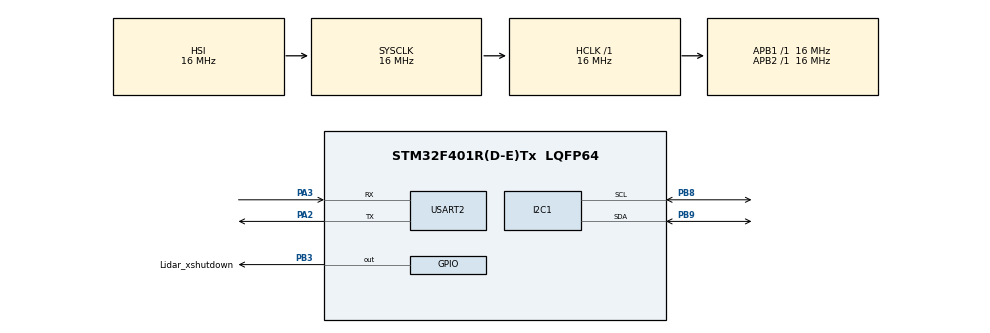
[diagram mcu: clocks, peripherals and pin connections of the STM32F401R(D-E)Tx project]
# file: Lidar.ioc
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I2C1.I2C_Mode=I2C_Fast
Mcu.Family=STM32F4
Mcu.Name=STM32F401R(D-E)Tx
Mcu.Package=LQFP64
NVIC.PriorityGroup=NVIC_PRIORITYGROUP_4
NVIC.USART2_IRQn=true\:0\:0\:false\:false\:true\:true\:true\:true
PA2.Mode=Asynchronous
PA2.Signal=USART2_TX
PA3.Mode=Asynchronous
PA3.Signal=USART2_RX
PB3.GPIO_Label=Lidar_xshutdown
PB3.PinState=GPIO_PIN_SET
PB3.Signal=GPIO_Output
PB8.Mode=I2C
PB8.Signal=I2C1_SCL
PB9.Mode=I2C
PB9.Signal=I2C1_SDA
PH0\ -\ OSC_IN.Mode=HSE-External-Clock-Source
PH0\ -\ OSC_IN.Signal=RCC_OSC_IN
PH1\ -\ OSC_OUT.Mode=HSE-External-Clock-Source
PH1\ -\ OSC_OUT.Signal=RCC_OSC_OUT
ProjectManager.HeapSize=0x200
ProjectManager.StackSize=0x400
ProjectManager.TargetToolchain=STM32CubeIDE
RCC.AHBFreq_Value=16000000
RCC.APB1Freq_Value=16000000
RCC.APB1TimFreq_Value=16000000
RCC.APB2Freq_Value=16000000
RCC.APB2TimFreq_Value=16000000
RCC.CortexFreq_Value=16000000
RCC.HCLKFreq_Value=16000000
RCC.HSE_VALUE=25000000
RCC.HSI_VALUE=16000000
RCC.LSE_VALUE=32768
RCC.SYSCLKFreq_VALUE=16000000
RCC.VCOOutputFreq_Value=192000000
USART2.VirtualMode=VM_ASYNC
board=custom

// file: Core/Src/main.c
/* USER CODE BEGIN Header */
/**
  */
/* USER CODE END Header */

#include "main.h"

/* USER CODE BEGIN Includes */
#include "vl53l0x_api.h"
#include <stdio.h>
#include <string.h>
#include <stdlib.h>
/* USER CODE END Includes */

/* USER CODE BEGIN PD */

/* --- CẤU HÌNH TIMING --- */
#define SERVO_SETTLE_MS     35
#define POWER_RECOVERY_MS   10
#define SERVO_EDGE_PAUSE    150
#define LIDAR_INVALID_MM    8190

/* --- CẤU HÌNH FILTER TẦNG 2 (ANTI-PULL-IN) --- */
#define NEAR_PULL_MM        120
#define CONFIRM_NEAR        3

/* --- CẤU HÌNH FILTER TẦNG 3 (SPATIAL) --- */
#define GAP_FILL_LIMIT_MM   80

/* USER CODE END PD */

I2C_HandleTypeDef hi2c1;
UART_HandleTypeDef huart2;

/* USER CODE BEGIN PV */
VL53L0X_RangingMeasurementData_t RangingData;
VL53L0X_Dev_t vl53l0x_c;
VL53L0X_DEV Dev = &vl53l0x_c;

char uart_tx_buffer[100];
uint8_t uart_rx_buffer[1];
volatile uint8_t flag_measure = 1;

// --- BIẾN CHO FILTER TẦNG 2 (Anti-Pull-In) ---
int last_valid = -1;
int near_candidate = -1;
uint8_t near_count = 0;

// --- BIẾN CHO FILTER TẦNG 3 (Spatial - Median) ---
int d_prev = -1;
int d_curr = -1;
int d_next = -1;

/* USER CODE END PV */

void SystemClock_Config(void);
static void MX_GPIO_Init(void);
static void MX_I2C1_Init(void);
static void MX_USART2_UART_Init(void);

/* USER CODE BEGIN 0 */

// =============================================================
// 1. MODULE SERVO
// =============================================================
uint32_t map_val(long x, long in_min, long in_max, long out_min, long out_max) {
   return (x - in_min) * (out_max - out_min) / (in_max - in_min) + out_min;
}

void Servo_Init(void) {
   RCC->AHB1ENR |= RCC_AHB1ENR_GPIOAEN;
   RCC->APB1ENR |= RCC_APB1ENR_TIM2EN;
   GPIOA->MODER &= ~GPIO_MODER_MODE0; GPIOA->MODER |= GPIO_MODER_MODE0_1;
   GPIOA->AFR[0] &= ~0xF; GPIOA->AFR[0] |= 0x1;
   TIM2->PSC = 15; TIM2->ARR = 19999;
   TIM2->CCMR1 &= ~TIM_CCMR1_OC1M; TIM2->CCMR1 |= (6 << TIM_CCMR1_OC1M_Pos);
   TIM2->CCMR1 |= TIM_CCMR1_OC1PE; TIM2->CCER |= TIM_CCER_CC1E;
   TIM2->CR1 |= TIM_CR1_CEN;
}

void Servo_Write(int angle) {
   if(angle < 0) angle = 0; if(angle > 180) angle = 180;
   TIM2->CCR1 = map_val(angle, 0, 180, 500, 2500);
}

// =============================================================
// 2. MODULE LIDAR
// =============================================================
VL53L0X_Error LidarInit(void) {
   VL53L0X_Error status = VL53L0X_ERROR_NONE;
   uint32_t refSpadCount; uint8_t isApertureSpads; uint8_t VhvSettings; uint8_t PhaseCal;

   HAL_GPIO_WritePin(Lidar_xshutdown_GPIO_Port, Lidar_xshutdown_Pin, GPIO_PIN_RESET);
   HAL_Delay(30);
   HAL_GPIO_WritePin(Lidar_xshutdown_GPIO_Port, Lidar_xshutdown_Pin, GPIO_PIN_SET);
   HAL_Delay(30);

   status = VL53L0X_DataInit(Dev); if (status != VL53L0X_ERROR_NONE) return status;
   status = VL53L0X_StaticInit(Dev); if (status != VL53L0X_ERROR_NONE) return status;
   status = VL53L0X_PerformRefSpadManagement(Dev, &refSpadCount, &isApertureSpads); if (status != VL53L0X_ERROR_NONE) return status;
   status = VL53L0X_PerformRefCalibration(Dev, &VhvSettings, &PhaseCal); if (status != VL53L0X_ERROR_NONE) return status;
   status = VL53L0X_SetDeviceMode(Dev, VL53L0X_DEVICEMODE_SINGLE_RANGING); if (status != VL53L0X_ERROR_NONE) return status;

   // Tuning cho Radar
   VL53L0X_SetVcselPulsePeriod(Dev, VL53L0X_VCSEL_PERIOD_PRE_RANGE, 18);
   VL53L0X_SetVcselPulsePeriod(Dev, VL53L0X_VCSEL_PERIOD_FINAL_RANGE, 14);
   VL53L0X_SetLimitCheckEnable(Dev, VL53L0X_CHECKENABLE_SIGNAL_RATE_FINAL_RANGE, 1);
   VL53L0X_SetLimitCheckValue(Dev, VL53L0X_CHECKENABLE_SIGNAL_RATE_FINAL_RANGE, (FixPoint1616_t)(0.1 * 65536));
   VL53L0X_SetLimitCheckEnable(Dev, VL53L0X_CHECKENABLE_SIGMA_FINAL_RANGE, 1);
   VL53L0X_SetLimitCheckValue(Dev, VL53L0X_CHECKENABLE_SIGMA_FINAL_RANGE, (FixPoint1616_t)(30 * 65536));
   status = VL53L0X_SetMeasurementTimingBudgetMicroSeconds(Dev, 50000);
   return status;
}

// =============================================================
// 3. TẦNG 1: RAW SAMPLING (Lấy mẫu trung bình)
// =============================================================
int Lidar_Read_Stable(void) {
    int valid_count = 0;
    long sum = 0;
    for (int i = 0; i < 5; i++) {
        VL53L0X_PerformSingleRangingMeasurement(Dev, &RangingData);
        if (RangingData.RangeStatus == 0 && RangingData.RangeMilliMeter > 30 && RangingData.RangeMilliMeter < 2000) {
            sum += RangingData.RangeMilliMeter;
            valid_count++;
        }
        HAL_Delay(5);
    }
    if (valid_count >= 3) return (int)(sum / valid_count);
    VL53L0X_ClearInterruptMask(Dev, 0);
    return -1;
}

// =============================================================
// 4. TẦNG 2: ANTI-PULL-IN FILTER (Temporal - Giữ mặt xa)
// =============================================================
int AntiPullInFilter(int current) {
    if (current <= 0) { if (last_valid > 0) return last_valid; return 0; }
    if (last_valid < 0) { last_valid = current; return current; }

    if (current < last_valid - NEAR_PULL_MM) {
        if (near_candidate < 0 || abs(current - near_candidate) > (NEAR_PULL_MM / 2)) {
            near_candidate = current;
            near_count = 1;
            return last_valid; // Reject near, keep far
        }
        near_count++;
        if (near_count >= CONFIRM_NEAR) {
            last_valid = near_candidate; near_candidate = -1; near_count = 0;
            return last_valid;
        }
        return last_valid;
    }
    near_candidate = -1; near_count = 0; last_valid = current;
    return current;
}

// =============================================================
// 5. TẦNG 3: SPATIAL FILTER (Median + Gap Fill)
// =============================================================

// Hàm tìm trung vị của 3 số
int median3(int a, int b, int c) {
    if ((a > b) ^ (a > c)) return a;
    if ((b > a) ^ (b > c)) return b;
    return c;
}

// Hàm Reset toàn bộ trạng thái khi đổi chiều quét
void Reset_All_Filters(void) {
    // Reset Anti-Pull-In
    last_valid = -1; near_candidate = -1; near_count = 0;
    // Reset Spatial Buffer
    d_prev = -1; d_curr = -1; d_next = -1;
}

int _write(int file, char *ptr, int len) {
   HAL_UART_Transmit(&huart2, (uint8_t*) ptr, len, HAL_MAX_DELAY);
   return len;
}

void HAL_UART_RxCpltCallback(UART_HandleTypeDef *huart) {
   if (huart->Instance == USART2) {
       if (uart_rx_buffer[0] == 's') flag_measure = 1;
       if (uart_rx_buffer[0] == 'p') flag_measure = 0;
       HAL_UART_Receive_IT(&huart2, uart_rx_buffer, 1);
   }
}
/* USER CODE END 0 */

int main(void)
{
  HAL_Init();
  SystemClock_Config();
  MX_GPIO_Init();
  MX_I2C1_Init();
  MX_USART2_UART_Init();
  /* USER CODE BEGIN 2 */

  Dev->I2cHandle = &hi2c1; Dev->I2cDevAddr = 0x52;
  Servo_Init(); Servo_Write(0); HAL_Delay(1000);

  sprintf(uart_tx_buffer, "Radar V3: Full Spatial Filter (Median + GapFill)...\r\n");
  HAL_UART_Transmit(&huart2, (uint8_t*)uart_tx_buffer, strlen(uart_tx_buffer), 100);

  if (LidarInit() == VL53L0X_ERROR_NONE) {
      HAL_UART_Receive_IT(&huart2, uart_rx_buffer, 1);
  } else {
      while (1) HAL_Delay(100);
  }

  /* USER CODE END 2 */

  /* USER CODE BEGIN WHILE */
  while (1)
  {
      if (flag_measure == 1) {

           // ============================================
           // ✅ CHIỀU ĐI (0 -> 180)
           // ============================================
           Reset_All_Filters();

           for (int i = 0; i <= 180; i++) {
               if (!flag_measure) break;

               Servo_Write(i);
               HAL_Delay(SERVO_SETTLE_MS); HAL_Delay(POWER_RECOVERY_MS);

               // --- PIPELINE XỬ LÝ 3 TẦNG ---

               // 1. Raw Read + Averaging
               int raw = Lidar_Read_Stable();

               // 2. Temporal Filter (Anti-Pull-In)
               int anti_pull_val = AntiPullInFilter(raw);

               // 3. Spatial Filter (Windowing)
               d_prev = d_curr;
               d_curr = d_next;
               d_next = anti_pull_val;

               int d_final = d_curr; // Mặc định lấy giá trị giữa

               // Chỉ lọc khi bộ đệm đã đầy (có đủ 3 mẫu: prev, curr, next)
               if (d_prev > 0 && d_curr >= 0 && d_next > 0) {

                   // A. Gap Fill: Nếu giữa bị mất (0) nhưng 2 bên có giá trị gần nhau
                   if (d_curr <= 0 && abs(d_prev - d_next) < GAP_FILL_LIMIT_MM) {
                       d_final = (d_prev + d_next) / 2; // Vá lỗ hổng bằng trung bình cộng
                   }
                   // B. Median Filter: Nếu cả 3 đều có giá trị
                   else if (d_curr > 0) {
                       d_final = median3(d_prev, d_curr, d_next);
                   }
               }

               // In kết quả (Lưu ý: d_final thực chất là kết quả của góc i-1, nhưng để vẽ realtime ta gửi luôn)
               int len = sprintf(uart_tx_buffer, "%d,%d\r\n", i, d_final);
               HAL_UART_Transmit(&huart2, (uint8_t*)uart_tx_buffer, len, 100);
           }
           HAL_Delay(SERVO_EDGE_PAUSE);

           // ============================================
           // ✅ CHIỀU VỀ (180 -> 0)
           // ============================================
           Reset_All_Filters();

           for (int i = 180; i >= 0; i--) {
               if (!flag_measure) break;

               Servo_Write(i);
               HAL_Delay(SERVO_SETTLE_MS); HAL_Delay(POWER_RECOVERY_MS);

               int raw = Lidar_Read_Stable();
               int anti_pull_val = AntiPullInFilter(raw);

               d_prev = d_curr;
               d_curr = d_next;
               d_next = anti_pull_val;

               int d_final = d_curr;
               if (d_prev > 0 && d_curr >= 0 && d_next > 0) {
                   if (d_curr <= 0 && abs(d_prev - d_next) < GAP_FILL_LIMIT_MM) {
                       d_final = (d_prev + d_next) / 2;
                   } else if (d_curr > 0) {
                       d_final = median3(d_prev, d_curr, d_next);
                   }
               }

               int len = sprintf(uart_tx_buffer, "%d,%d\r\n", i, d_final);
               HAL_UART_Transmit(&huart2, (uint8_t*)uart_tx_buffer, len, 100);
           }
           HAL_Delay(SERVO_EDGE_PAUSE);

       } else {
           HAL_Delay(200);
       }
  }
  /* USER CODE END 3 */
}

/* Các hàm SystemConfig, MX_Init giữ nguyên như cũ */
void SystemClock_Config(void) {
  RCC_OscInitTypeDef RCC_OscInitStruct = {0}; RCC_ClkInitTypeDef RCC_ClkInitStruct = {0};
  __HAL_RCC_PWR_CLK_ENABLE(); __HAL_PWR_VOLTAGESCALING_CONFIG(PWR_REGULATOR_VOLTAGE_SCALE2);
  RCC_OscInitStruct.OscillatorType = RCC_OSCILLATORTYPE_HSI; RCC_OscInitStruct.HSIState = RCC_HSI_ON; RCC_OscInitStruct.HSICalibrationValue = RCC_HSICALIBRATION_DEFAULT; RCC_OscInitStruct.PLL.PLLState = RCC_PLL_NONE;
  if (HAL_RCC_OscConfig(&RCC_OscInitStruct) != HAL_OK) Error_Handler();
  RCC_ClkInitStruct.ClockType = RCC_CLOCKTYPE_HCLK|RCC_CLOCKTYPE_SYSCLK|RCC_CLOCKTYPE_PCLK1|RCC_CLOCKTYPE_PCLK2; RCC_ClkInitStruct.SYSCLKSource = RCC_SYSCLKSOURCE_HSI; RCC_ClkInitStruct.AHBCLKDivider = RCC_SYSCLK_DIV1; RCC_ClkInitStruct.APB1CLKDivider = RCC_HCLK_DIV1; RCC_ClkInitStruct.APB2CLKDivider = RCC_HCLK_DIV1;
  if (HAL_RCC_ClockConfig(&RCC_ClkInitStruct, FLASH_LATENCY_0) != HAL_OK) Error_Handler();
}
static void MX_I2C1_Init(void) { hi2c1.Instance = I2C1; hi2c1.Init.ClockSpeed = 400000; hi2c1.Init.DutyCycle = I2C_DUTYCYCLE_2; hi2c1.Init.OwnAddress1 = 0; hi2c1.Init.AddressingMode = I2C_ADDRESSINGMODE_7BIT; hi2c1.Init.DualAddressMode = I2C_DUALADDRESS_DISABLE; hi2c1.Init.OwnAddress2 = 0; hi2c1.Init.GeneralCallMode = I2C_GENERALCALL_DISABLE; hi2c1.Init.NoStretchMode = I2C_NOSTRETCH_DISABLE; HAL_I2C_Init(&hi2c1); }
static void MX_USART2_UART_Init(void) { huart2.Instance = USART2; huart2.Init.BaudRate = 115200; huart2.Init.WordLength = UART_WORDLENGTH_8B; huart2.Init.StopBits = UART_STOPBITS_1; huart2.Init.Parity = UART_PARITY_NONE; huart2.Init.Mode = UART_MODE_TX_RX; huart2.Init.HwFlowCtl = UART_HWCONTROL_NONE; huart2.Init.OverSampling = UART_OVERSAMPLING_16; HAL_UART_Init(&huart2); }
static void MX_GPIO_Init(void) { GPIO_InitTypeDef GPIO_InitStruct = {0}; __HAL_RCC_GPIOH_CLK_ENABLE(); __HAL_RCC_GPIOA_CLK_ENABLE(); __HAL_RCC_GPIOB_CLK_ENABLE(); HAL_GPIO_WritePin(Lidar_xshutdown_GPIO_Port, Lidar_xshutdown_Pin, GPIO_PIN_SET); GPIO_InitStruct.Pin = Lidar_xshutdown_Pin; GPIO_InitStruct.Mode = GPIO_MODE_OUTPUT_PP; GPIO_InitStruct.Pull = GPIO_NOPULL; GPIO_InitStruct.Speed = GPIO_SPEED_FREQ_LOW; HAL_GPIO_Init(Lidar_xshutdown_GPIO_Port, &GPIO_InitStruct); }
void Error_Handler(void) { __disable_irq(); while (1) {} }
